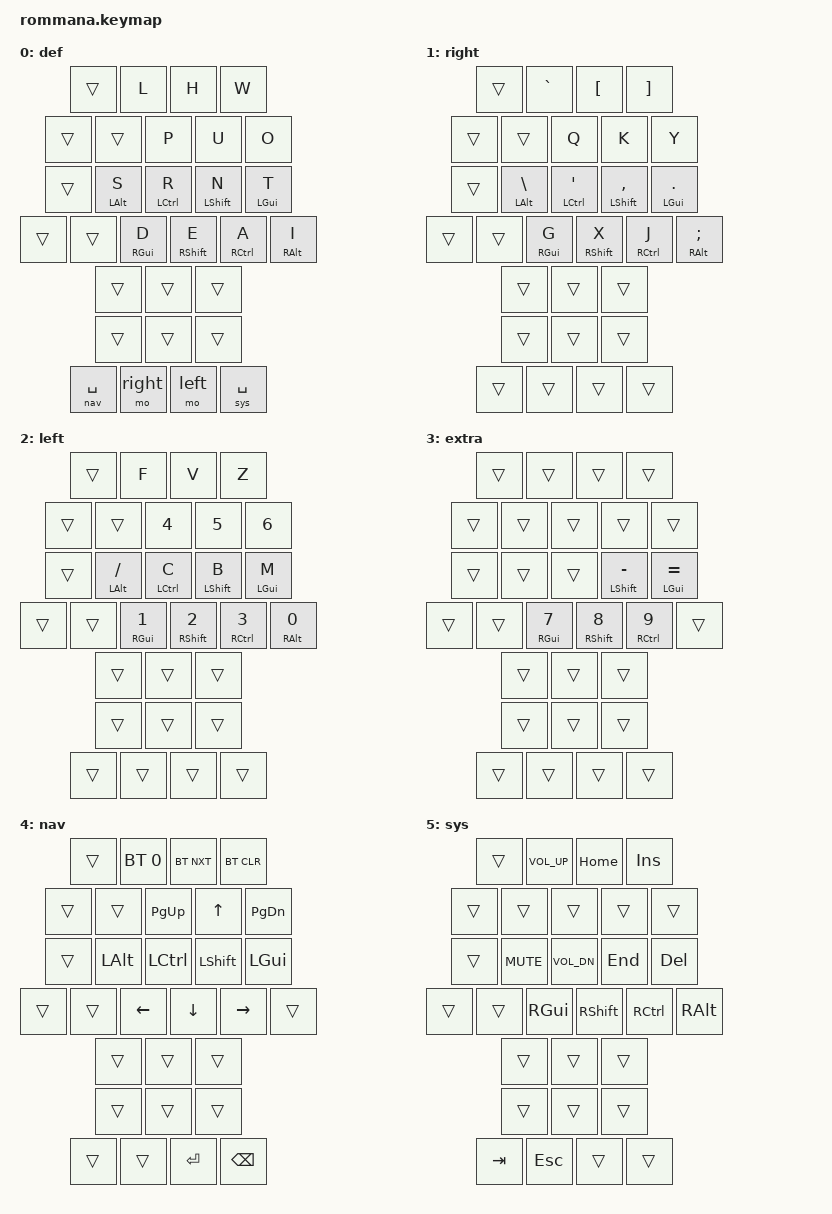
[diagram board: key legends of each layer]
/*
 * Copyright (c) 2021 The ZMK Contributors
 *
 * SPDX-License-Identifier: MIT
 */

#include <behaviors.dtsi>
#include <dt-bindings/zmk/keys.h>
#include <dt-bindings/zmk/bt.h>
#include <dt-bindings/zmk/outputs.h>

#define def 0
#define right 1
#define left 2
#define extra 3
#define nav 4
#define sys 5

// &kscan0 {
//     debounce-period = <16>;
// };

&lt {
    flavor = "balanced";
    tapping-term-ms = <1024>;
};

&mt {
    flavor = "balanced";
    tapping-term-ms = <1024>;
};

/ {

    conditional_layers {
        compatible = "zmk,conditional-layers";
        tri_layer {
            if-layers = <right left>;
            then-layer = <extra>;
        };
    };

    keymap {
        compatible = "zmk,keymap";

        def {
            bindings = <
&trans                                  &kp L       &kp H           &kp W
&trans &trans                                                                           &kp P          &kp U        &kp O
&trans                 &mt LALT S     &mt LCTRL R   &mt LSHFT N    &mt LGUI T
&trans &trans                                                                      &mt RGUI D     &mt RSHFT E   &mt RCTRL A    &mt RALT I
&trans &trans &trans
&trans &trans &trans
                                     &lt nav SPACE    &mo right           &mo left     &lt sys SPACE
                >;
        };

        right {
            bindings = <
&trans                                 &kp GRAVE      &kp LBKT     &kp RBKT
&trans &trans                                                                      &kp Q    &kp K    &kp Y
&trans                  &mt LALT BSLH   &mt LCTRL SQT  &mt LSHFT COMMA   &mt LGUI DOT
&trans &trans                                                               &mt RGUI G   &mt RSHFT X   &mt RCTRL J    &mt RALT SEMI
&trans &trans &trans
&trans &trans &trans
                                                    &trans      &trans             &trans   &trans
                >;
        };

        left {
            bindings = <
&trans                                 &kp F      &kp V     &kp Z
&trans &trans                                                                      &kp N4    &kp N5    &kp N6
&trans                    &mt LALT SLASH  &mt LCTRL C  &mt LSHFT B   &mt LGUI M
&trans &trans                                                               &mt RGUI N1   &mt RSHFT N2   &mt RCTRL N3    &mt RALT N0
&trans &trans &trans
&trans &trans &trans
                                                    &trans      &trans             &trans   &trans
                >;
        };

        extra {
            bindings = <
&trans                              &trans    &trans    &trans
&trans &trans                                                                     &trans    &trans   &trans
&trans                 &trans      &trans     &mt LSHFT MINUS   &mt LGUI EQUAL
&trans &trans                                                               &mt RGUI N7  &mt RSHFT N8  &mt RCTRL N9   &trans
&trans &trans &trans
&trans &trans &trans
                                                    &trans      &trans           &trans  &trans
                >;
        };

        nav {
            bindings = <
&trans                          &bt BT_SEL 0   &bt BT_NXT     &bt BT_CLR
&trans &trans                                                                &kp PG_UP      &kp UP         &kp PG_DN
&trans                &kp LALT    &kp LCTRL      &kp LSHFT      &kp LGUI
&trans &trans                                                                &kp LEFT       &kp DOWN       &kp RIGHT      &trans
&trans &trans &trans
&trans &trans &trans
                                           &trans      &trans                 &kp RET     &kp BSPC
                >;
        };

        sys {
            bindings = <
&trans                             &kp C_VOL_UP    &kp HOME   &kp INS
&trans &trans                                                                    &trans     &trans   &trans
&trans               &kp C_MUTE    &kp C_VOL_DN    &kp END    &kp DEL
&trans &trans                                                                    &kp RGUI     &kp RSHFT   &kp RCTRL    &kp RALT
&trans &trans &trans
&trans &trans &trans
                                             &kp TAB     &kp ESC                &trans   &trans
                >;
        };

     };
};
